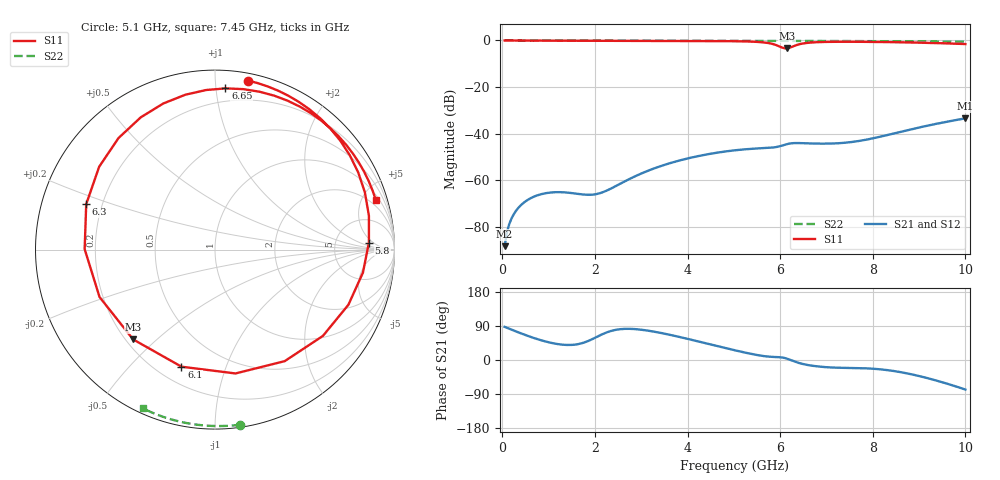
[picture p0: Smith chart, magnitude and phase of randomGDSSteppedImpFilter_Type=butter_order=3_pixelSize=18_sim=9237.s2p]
! freq	dB(S11)	phase(S11)	dB(S12)	phase(S12)
!  dB(S21)	phase(S21)	dB(S22)	phase(S22)
!S-par simulation data
#  GHz  S  DB  R 50
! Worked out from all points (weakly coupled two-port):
!   200 points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, 50 MHz to 10 GHz, reference 50 ohm
!   highest |S21| = -33.39 dB at 10 GHz (marker M1); lowest = -88.2 dB at 50 MHz (marker M2)
!   lowest |S11| = -3.4 dB at 6.15 GHz (marker M3), VSWR 5.19, Z = 11.4 - j21.1 ohm
!   |S11| at or under -10 dB: nowhere
!   |S22| runs from -0.5 to 0.0 dB; largest |S21 - S12| = 0
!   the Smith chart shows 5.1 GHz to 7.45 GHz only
!   S11 on the Smith chart (normalised r, x): 5.1 GHz: 0.05, +1.21; 5.8 GHz: 12, +4; 6.1 GHz: 0.29, -0.71; 6.3 GHz: 0.14, +0.17; 6.65 GHz: 0.11, +1.06; 7.45 GHz: 1.38, +6.33
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0.05  -0.00 -4.2  -88.23 87.5  -88.23 87.5  -0.00 -0.9
0.45  -0.05 -36.9  -69.79 68.1  -69.79 68.1  -0.01 -7.7
0.85  -0.08 -67.3  -65.88 51.7  -65.88 51.7  -0.02 -14.5
1.75  -0.12 -123.5  -66.07 45.4  -66.07 45.4  -0.04 -29.6
2.55  -0.14 -162.6  -61.42 81.4  -61.42 81.4  -0.06 -42.6
3.4  -0.16 160.9  -54.03 72.0  -54.03 72.0  -0.07 -56.1
4.25  -0.22 124.1  -49.52 48.5  -49.52 48.5  -0.10 -69.2
5.05  -0.34 82.1  -47.05 24.9  -47.05 24.9  -0.12 -81.0
5.1  -0.36 78.9  -46.95 23.4  -46.95 23.4  -0.13 -81.7
5.5  -0.61 46.5  -46.33 13.2  -46.33 13.2  -0.14 -87.5
5.8  -1.33 2.6  -46.00 8.5  -46.00 8.5  -0.16 -91.8
5.95  -2.27 -38.7  -45.58 7.7  -45.58 7.7  -0.16 -93.9
6.1  -3.37 -106.0  -44.74 5.2  -44.74 5.2  -0.17 -96.0
6.15  -3.39 -132.4  -44.46 3.4  -44.46 3.4  -0.17 -96.7
6.3  -2.37 160.6  -44.02 -3.6  -44.02 -3.6  -0.18 -98.7
6.45  -1.46 119.3  -44.03 -9.3  -44.03 -9.3  -0.19 -100.8
6.65  -0.91 86.3  -44.17 -14.3  -44.17 -14.3  -0.20 -103.6
6.7  -0.84 80.1  -44.20 -15.3  -44.20 -15.3  -0.20 -104.2
7.45  -0.56 17.2  -43.77 -20.9  -43.77 -20.9  -0.25 -114.3
8.35  -0.71 -39.7  -40.40 -27.3  -40.40 -27.3  -0.32 -126.3
9.2  -1.04 -92.3  -36.47 -48.4  -36.47 -48.4  -0.41 -137.4
10  -1.54 -148.1  -33.39 -78.1  -33.39 -78.1  -0.50 -147.9
